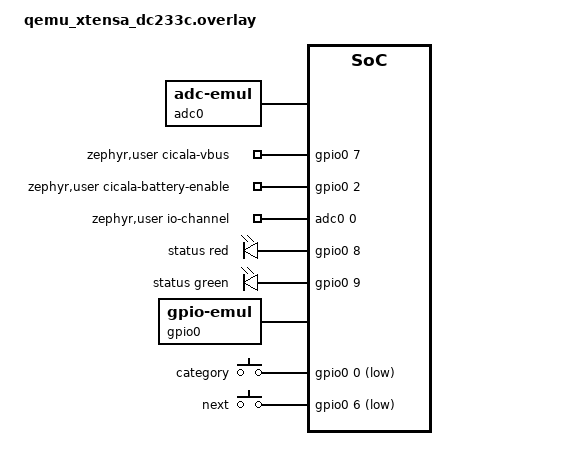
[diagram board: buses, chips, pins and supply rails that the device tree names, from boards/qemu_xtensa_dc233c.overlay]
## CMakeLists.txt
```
cmake_minimum_required(VERSION 3.20.0)

find_package(Zephyr REQUIRED HINTS $ENV{ZEPHYR_BASE})
project(cicala_integration LANGUAGES C CXX)

set(CICALA_APP ${CMAKE_CURRENT_SOURCE_DIR}/../../app)

add_subdirectory(${CMAKE_CURRENT_SOURCE_DIR}/../../lib/fsm cicala_fsm)
add_subdirectory(${CMAKE_CURRENT_SOURCE_DIR}/../../lib/app_fsm cicala_app_fsm)
add_subdirectory(${CMAKE_CURRENT_SOURCE_DIR}/../../lib/qdb cicala_qdb)
add_subdirectory(${CMAKE_CURRENT_SOURCE_DIR}/../../lib/layout cicala_layout)
add_subdirectory(${CMAKE_CURRENT_SOURCE_DIR}/../../lib/retained cicala_retained)
add_subdirectory(${CMAKE_CURRENT_SOURCE_DIR}/../../lib/power cicala_power)
add_subdirectory(${CMAKE_CURRENT_SOURCE_DIR}/../../lib/status cicala_status)

target_sources(app PRIVATE
    src/main.c
    ${CICALA_APP}/src/app.c
    ${CICALA_APP}/src/app_logic.cpp
    ${CICALA_APP}/src/channels.c
    ${CICALA_APP}/src/corpus.c
    ${CICALA_APP}/src/display.c
    ${CICALA_APP}/src/input.c
    ${CICALA_APP}/src/language.c
    ${CICALA_APP}/src/panel.cpp
    ${CICALA_APP}/src/power.c
    ${CICALA_APP}/src/power_logic.cpp
    ${CICALA_APP}/src/retained_block.cpp
    ${CICALA_APP}/src/status.c
    ${CICALA_APP}/src/status_logic.cpp
)

target_include_directories(app PRIVATE ${CICALA_APP}/include)
target_link_libraries(app PRIVATE cicala_fsm cicala_app_fsm cicala_qdb cicala_layout cicala_retained cicala_power
    cicala_status)

set(fixtures ${CMAKE_CURRENT_SOURCE_DIR}/../fixtures)

foreach(lang en de)
  if(NOT EXISTS ${fixtures}/${lang}.qdb)
    message(FATAL_ERROR "missing ${fixtures}/${lang}.qdb — run `just fw-test`")
  endif()

  generate_inc_file_for_target(app
    ${fixtures}/${lang}.qdb
    ${ZEPHYR_BINARY_DIR}/include/generated/${lang}_qdb.inc)
endforeach()
```

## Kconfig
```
# Use the complete application policy.

mainmenu "cicala integration tests"

rsource "../../Kconfig.policy"

source "Kconfig.zephyr"
```

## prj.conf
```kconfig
CONFIG_ZTEST=y

CONFIG_CPP=y
CONFIG_STD_CPP17=y
CONFIG_CPP_EXCEPTIONS=n
CONFIG_CPP_RTTI=n

CONFIG_LOG=y
CONFIG_LOG_MODE_IMMEDIATE=y
CONFIG_ASSERT=y

CONFIG_GPIO=y
CONFIG_INPUT=y
CONFIG_INPUT_MODE_SYNCHRONOUS=y

CONFIG_CICALA_POWER=y
CONFIG_CICALA_STATUS_LED=y
CONFIG_ADC=y
# Error-path logging runs on the emulator's acquisition thread.
CONFIG_ADC_EMUL_ACQUISITION_THREAD_STACK_SIZE=2048

CONFIG_CICALA_POWER_SAMPLE_MS=100
CONFIG_CICALA_POWER_CONFIRM_SAMPLES=1
CONFIG_CICALA_POWER_DIVIDER_SETTLE_MS=20

CONFIG_ZBUS=y
CONFIG_ZBUS_CHANNEL_NAME=y
CONFIG_ZBUS_MSG_SUBSCRIBER=y
CONFIG_ZBUS_MSG_SUBSCRIBER_BUF_ALLOC_STATIC=y
CONFIG_ZBUS_MSG_SUBSCRIBER_NET_BUF_STATIC_DATA_SIZE=144
CONFIG_ZBUS_RUNTIME_OBSERVERS=n

CONFIG_DISPLAY=y
CONFIG_CHARACTER_FRAMEBUFFER=y

CONFIG_ENTROPY_GENERATOR=y
CONFIG_TEST_RANDOM_GENERATOR=y

CONFIG_HEAP_MEM_POOL_SIZE=8192
CONFIG_MAIN_STACK_SIZE=4096
CONFIG_ZTEST_STACK_SIZE=4096
CONFIG_SYSTEM_WORKQUEUE_STACK_SIZE=1536
```

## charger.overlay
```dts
/ {
    zephyr,user {
        cicala-charger-status-gpios = <&gpio0 3 GPIO_ACTIVE_HIGH>,
                                     <&gpio0 4 GPIO_ACTIVE_HIGH>;
    };
};
```

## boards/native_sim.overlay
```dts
#include <zephyr/dt-bindings/adc/adc.h>
#include <zephyr/dt-bindings/gpio/gpio.h>
#include <zephyr/dt-bindings/input/input-event-codes.h>

/ {
    aliases {
        cicala-category = &cicala_category;
        cicala-next = &cicala_next;
        cicala-led-red = &led_red;
        cicala-led-green = &led_green;
    };

    adc0: adc {
        compatible = "zephyr,adc-emul";
        nchannels = <1>;
        ref-internal-mv = <3300>;
        #io-channel-cells = <1>;
        #address-cells = <1>;
        #size-cells = <0>;
        status = "okay";

        channel@0 {
            reg = <0>;
            zephyr,gain = "ADC_GAIN_1";
            zephyr,reference = "ADC_REF_INTERNAL";
            zephyr,acquisition-time = <ADC_ACQ_TIME_DEFAULT>;
            zephyr,resolution = <12>;
        };
    };

    zephyr,user {
        io-channels = <&adc0 0>;
        cicala-vbus-gpios = <&gpio0 7 GPIO_ACTIVE_HIGH>;
        cicala-battery-enable-gpios = <&gpio0 2 GPIO_ACTIVE_HIGH>;
    };

    cicala_leds: cicala-leds {
        compatible = "gpio-leds";
        led_red: red { gpios = <&gpio0 8 GPIO_ACTIVE_HIGH>; label = "status red"; };
        led_green: green { gpios = <&gpio0 9 GPIO_ACTIVE_HIGH>; label = "status green"; };
    };

    cicala_buttons: cicala-buttons {
        compatible = "gpio-keys";
        debounce-interval-ms = <30>;
        cicala_category: category { gpios = <&gpio0 0 GPIO_ACTIVE_LOW>; zephyr,code = <INPUT_KEY_MENU>; label = "category"; };
        cicala_next: next { gpios = <&gpio0 6 GPIO_ACTIVE_LOW>; zephyr,code = <INPUT_KEY_ENTER>; label = "next"; };
    };

    cicala_dummy: dummy_dc {
        compatible = "zephyr,dummy-dc";
        width = <250>;
        height = <122>;
        status = "okay";
    };

    chosen {
        zephyr,display = &cicala_dummy;
    };

};

&sdl_dc {
    status = "disabled";
};
```

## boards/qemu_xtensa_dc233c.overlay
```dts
#include <zephyr/dt-bindings/adc/adc.h>
#include <zephyr/dt-bindings/gpio/gpio.h>
#include <zephyr/dt-bindings/input/input-event-codes.h>

/ {
    aliases {
        cicala-category = &cicala_category;
        cicala-next = &cicala_next;
        cicala-led-red = &led_red;
        cicala-led-green = &led_green;
    };

    adc0: adc {
        compatible = "zephyr,adc-emul";
        nchannels = <1>;
        ref-internal-mv = <3300>;
        #io-channel-cells = <1>;
        #address-cells = <1>;
        #size-cells = <0>;
        status = "okay";

        channel@0 {
            reg = <0>;
            zephyr,gain = "ADC_GAIN_1";
            zephyr,reference = "ADC_REF_INTERNAL";
            zephyr,acquisition-time = <ADC_ACQ_TIME_DEFAULT>;
            zephyr,resolution = <12>;
        };
    };

    zephyr,user {
        io-channels = <&adc0 0>;
        cicala-vbus-gpios = <&gpio0 7 GPIO_ACTIVE_HIGH>;
        cicala-battery-enable-gpios = <&gpio0 2 GPIO_ACTIVE_HIGH>;
    };

    cicala_leds: cicala-leds {
        compatible = "gpio-leds";
        led_red: red { gpios = <&gpio0 8 GPIO_ACTIVE_HIGH>; label = "status red"; };
        led_green: green { gpios = <&gpio0 9 GPIO_ACTIVE_HIGH>; label = "status green"; };
    };

    gpio0: gpio_emul {
        compatible = "zephyr,gpio-emul";
        gpio-controller;
        #gpio-cells = <2>;
        ngpios = <32>;
        rising-edge;
        falling-edge;
        high-level;
        low-level;
    };

    cicala_buttons: cicala-buttons {
        compatible = "gpio-keys";
        debounce-interval-ms = <30>;
        cicala_category: category { gpios = <&gpio0 0 GPIO_ACTIVE_LOW>; zephyr,code = <INPUT_KEY_MENU>; label = "category"; };
        cicala_next: next { gpios = <&gpio0 6 GPIO_ACTIVE_LOW>; zephyr,code = <INPUT_KEY_ENTER>; label = "next"; };
    };

    cicala_dummy: dummy_dc {
        compatible = "zephyr,dummy-dc";
        width = <250>;
        height = <122>;
        status = "okay";
    };

    chosen {
        zephyr,display = &cicala_dummy;
    };
};
```

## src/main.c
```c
/* Exercise the real input-to-panel seams with emulated GPIO, ADC, and display. */

#include <zephyr/drivers/adc.h>
#include <zephyr/drivers/adc/adc_emul.h>
#include <zephyr/drivers/gpio.h>
#include <zephyr/drivers/gpio/gpio_emul.h>
#include <zephyr/init.h>
#include <zephyr/kernel.h>
#include <zephyr/sys/atomic.h>
#include <zephyr/ztest.h>

#include "channels.h"
#include "input.h"
#include "power.h"
#include "power_logic.h"
#include "status.h"

static const struct gpio_dt_spec category = GPIO_DT_SPEC_GET(DT_ALIAS(cicala_category), gpios);
static const struct gpio_dt_spec next_button = GPIO_DT_SPEC_GET(DT_ALIAS(cicala_next), gpios);

static const struct gpio_dt_spec led_red = GPIO_DT_SPEC_GET(DT_ALIAS(cicala_led_red), gpios);
static const struct gpio_dt_spec led_green = GPIO_DT_SPEC_GET(DT_ALIAS(cicala_led_green), gpios);

static const struct adc_dt_spec cell = ADC_DT_SPEC_GET(DT_PATH(zephyr_user));

static const struct gpio_dt_spec vbus = GPIO_DT_SPEC_GET(DT_PATH(zephyr_user), cicala_vbus_gpios);
static const struct gpio_dt_spec divider =
    GPIO_DT_SPEC_GET(DT_PATH(zephyr_user), cicala_battery_enable_gpios);

#define HAS_CHARGER DT_NODE_HAS_PROP(DT_PATH(zephyr_user), cicala_charger_status_gpios)
#if HAS_CHARGER
static const struct gpio_dt_spec stat1 =
    GPIO_DT_SPEC_GET_BY_IDX(DT_PATH(zephyr_user), cicala_charger_status_gpios, 0);
static const struct gpio_dt_spec stat2 =
    GPIO_DT_SPEC_GET_BY_IDX(DT_PATH(zephyr_user), cicala_charger_status_gpios, 1);

static void set_charger(bool high1, bool high2)
{
    zassert_ok(gpio_emul_input_set(stat1.port, stat1.pin, high1));
    zassert_ok(gpio_emul_input_set(stat2.port, stat2.pin, high2));
    k_msleep(CONFIG_CICALA_POWER_SAMPLE_MS * 3);
}
#endif

#define HEALTHY_MV 3900
/* Clear of the critical and plausible thresholds after ADC rounding. */
#define FLAT_MV 2800

/* The emulator supplies divider-tap voltage; power.c scales it to pack voltage. */
#define TAP_MV(pack) ((pack) * CONFIG_CICALA_POWER_DIVIDER_DEN / CONFIG_CICALA_POWER_DIVIDER_NUM)

static atomic_t tap_mv = ATOMIC_INIT(TAP_MV(HEALTHY_MV));
static atomic_t adc_reads;
static atomic_t adc_gate_errors;
static atomic_t adc_fail;

static int sample_gated_cell(const struct device *dev, unsigned int chan, void *data,
                             uint32_t *result)
{
    ARG_UNUSED(dev);
    ARG_UNUSED(chan);
    ARG_UNUSED(data);
    if (gpio_emul_output_get(divider.port, divider.pin) != 1) {
        atomic_inc(&adc_gate_errors);
    }
    atomic_inc(&adc_reads);
    *result = atomic_get(&tap_mv);
    return atomic_get(&adc_fail) ? -EIO : 0;
}

static int charge_the_cell(void)
{
    (void) adc_emul_value_func_set(cell.dev, cell.channel_id, sample_gated_cell, NULL);

    return 0;
}

/* Run before power.c samples the ADC at application priority. */
SYS_INIT(charge_the_cell, APPLICATION, 0);

static void set_cell_mv(uint16_t pack_mv)
{
    atomic_set(&tap_mv, TAP_MV(pack_mv));
    k_sleep(K_MSEC(CONFIG_CICALA_POWER_SAMPLE_MS * 3));
}

static void set_vbus(bool plugged)
{
    zassert_ok(gpio_emul_input_set(vbus.port, vbus.pin, plugged ? 1 : 0));
    k_sleep(K_MSEC(CONFIG_CICALA_POWER_SAMPLE_MS * 3));
}

static void settle_leds(void)
{
    /* Cases are unordered, so outlast any burst armed by a previous case. */
    k_sleep(K_MSEC(CONFIG_CICALA_STATUS_LED_BLINK_MS * 8));
}

/* Includes gpio-keys debounce and both application threads. */
#define PRESS_WAIT K_MSEC(CONFIG_CICALA_BUTTON_DEBOUNCE_MS + 300)

static struct cicala_question_msg last_question;

static struct cicala_question_msg first_question;
static bool have_first;

static int questions;
static int renders;
static int last_render_result;

static struct cicala_power_msg last_power;

static void observe(const struct zbus_channel *chan)
{
    if (chan == &chan_power) {
        last_power = *(const struct cicala_power_msg *) zbus_chan_const_msg(chan);
    } else if (chan == &chan_question) {
        last_question = *(const struct cicala_question_msg *) zbus_chan_const_msg(chan);
        questions++;

        if (!have_first) {
            first_question = last_question;
            have_first = true;
        }
    } else if (chan == &chan_render) {
        const struct cicala_render_msg *msg = zbus_chan_const_msg(chan);

        last_render_result = msg->result;
        renders++;
    }
}

ZBUS_LISTENER_DEFINE(test_obs, observe);
ZBUS_CHAN_ADD_OBS(chan_question, test_obs, 4);
ZBUS_CHAN_ADD_OBS(chan_render, test_obs, 4);
ZBUS_CHAN_ADD_OBS(chan_power, test_obs, 4);

static void press(const struct gpio_dt_spec *button)
{
    zassert_ok(gpio_emul_input_set(button->port, button->pin, 0));
    k_sleep(K_MSEC(80));
    zassert_ok(gpio_emul_input_set(button->port, button->pin, 1));
    k_sleep(PRESS_WAIT);
}

static void *suite_setup(void)
{
    /* Emulated active-low buttons start low. */
    zassert_ok(gpio_emul_input_set(category.port, category.pin, 1));
    zassert_ok(gpio_emul_input_set(next_button.port, next_button.pin, 1));

    zassert_ok(gpio_emul_input_set(vbus.port, vbus.pin, 0));
#if HAS_CHARGER
    set_charger(true, false);
#endif

    k_sleep(PRESS_WAIT);

    zassert_ok(cicala_input_init());
    k_sleep(PRESS_WAIT);

    return NULL;
}

static void suite_teardown(void *data)
{
    ARG_UNUSED(data);
    for (int i = 0; i < 200 && gpio_emul_output_get(divider.port, divider.pin) == 0; i++) {
        k_msleep(1);
    }
    cicala_power_prepare_sleep();
    cicala_status_off();
    atomic_val_t completed = atomic_get(&adc_reads);
    cicala_status_set_activity(true);
    cicala_status_set_portal(true);
    k_msleep(CONFIG_CICALA_POWER_SAMPLE_MS * 3);
    zassert_equal(atomic_get(&adc_reads), completed, "ADC rearmed after sleep preparation");
    zassert_equal(gpio_emul_output_get(divider.port, divider.pin), 0);
    zassert_equal(gpio_emul_output_get(led_red.port, led_red.pin), 0);
    zassert_equal(gpio_emul_output_get(led_green.port, led_green.pin), 0);
}

ZTEST_SUITE(cicala_integration, NULL, suite_setup, NULL, NULL, suite_teardown);

ZTEST(cicala_integration, test_adc_switch_closes_after_success_and_failure)
{
    set_cell_mv(HEALTHY_MV);
    for (int fail = 0; fail < 2; fail++) {
        atomic_set(&adc_fail, fail);
        atomic_val_t before = atomic_get(&adc_reads);
        for (int i = 0; i < 100 && atomic_get(&adc_reads) == before; i++) {
            k_msleep(10);
        }
        zassert_true(atomic_get(&adc_reads) > before, "ADC worker did not run");
        k_msleep(10);
        zassert_equal(gpio_emul_output_get(divider.port, divider.pin), 0,
                      "Divider must switch off even when conversion fails");
    }
    atomic_clear(&adc_fail);
    zassert_equal(atomic_get(&adc_gate_errors), 0, "ADC sampled an unpowered divider");
    set_cell_mv(HEALTHY_MV);
}

ZTEST(cicala_integration, test_boot_starts_the_mixed_stream)
{
    zassert_true(have_first);
    zassert_equal(first_question.kind, CICALA_CARD_QUESTION);
    zassert_equal(first_question.permissions, 0);
}

ZTEST(cicala_integration, test_filters_edit_a_draft_and_done_resumes_the_question)
{
    press(&next_button);
    struct cicala_question_msg before = last_question;
    press(&category);
    zassert_equal(last_question.kind, CICALA_CARD_FILTERS);
    zassert_equal(last_question.cursor, 0);
    press(&next_button);
    zassert_equal(last_question.permissions, before.permissions ^ 1);
    press(&next_button); // restore the draft
    for (int i = 1; i <= 3; i++) {
        press(&category);
        zassert_equal(last_question.cursor, i);
    }
    press(&next_button);
    zassert_equal(last_question.kind, CICALA_CARD_QUESTION);
    zassert_equal(last_question.len, before.len);
    zassert_mem_equal(last_question.text, before.text, before.len);
    zassert_equal(last_render_result, 0);
}

ZTEST(cicala_integration, test_next_draws_a_different_question)
{
    press(&next_button);
    zassert_equal(last_question.kind, CICALA_CARD_QUESTION);

    const uint32_t before_seq = last_question.seq;
    const uint16_t before_len = last_question.len;
    char before_text[CONFIG_CICALA_MAX_QUESTION_BYTES];

    memcpy(before_text, last_question.text, before_len);

    questions = 0;

    press(&next_button);

    zassert_equal(questions, 1, "one press is one question");
    zassert_true(last_question.seq > before_seq, "the sequence has to advance");

    const bool same =
        last_question.len == before_len && memcmp(last_question.text, before_text, before_len) == 0;

    zassert_false(same, "the bag must not hand back the question already on screen");
}

ZTEST(cicala_integration, test_a_flat_cell_leaves_the_question_on_the_panel)
{
    press(&next_button);

    const uint32_t drawn = last_question.seq;

    set_cell_mv(FLAT_MV);

    questions = 0;
    renders = 0;

    press(&next_button);

    zassert_equal(questions, 0, "nothing should have been published");
    zassert_equal(renders, 0, "and nothing should have reached the panel");
    zassert_equal(last_question.seq, drawn, "the glass still holds the last question");

    set_cell_mv(HEALTHY_MV);
}

ZTEST(cicala_integration, test_a_charged_cell_answers_again)
{
    set_cell_mv(FLAT_MV);

    questions = 0;
    press(&next_button);
    zassert_equal(questions, 0);

    set_cell_mv(HEALTHY_MV);

    press(&next_button);

    zassert_equal(questions, 1, "the press after a recovery is answered");
    zassert_equal(last_question.kind, CICALA_CARD_QUESTION);
    zassert_equal(last_render_result, 0);
}

ZTEST(cicala_integration, test_a_flat_cell_does_not_burn_a_question_from_the_bag)
{
    set_cell_mv(FLAT_MV);

    for (int i = 0; i < 5; i++) {
        press(&next_button);
    }

    set_cell_mv(HEALTHY_MV);

    questions = 0;
    press(&next_button);

    zassert_equal(questions, 1, "the bag still had something to give");
    zassert_equal(last_question.kind, CICALA_CARD_QUESTION);
}

ZTEST(cicala_integration, test_the_usb_bit_follows_the_pin)
{
    set_cell_mv(HEALTHY_MV);
    set_vbus(false);

    zassert_false(last_power.usb, "nothing is plugged in yet");

    set_vbus(true);

    zassert_true(last_power.usb, "plugging in has to reach the channel");
    zassert_equal(last_power.state, CICALA_POWER_CHARGING);

    set_vbus(false);

    zassert_false(last_power.usb, "and so does unplugging");
    zassert_equal(last_power.state, CICALA_POWER_NORMAL,
                  "unplugging re-derives from the cell rather than trusting where it was");
}

ZTEST(cicala_integration, test_external_power_answers_a_press_the_cell_would_not)
{
    set_cell_mv(FLAT_MV);

    questions = 0;
    press(&next_button);
    zassert_equal(questions, 0, "on the cell alone this press is refused");

    set_vbus(true);

    questions = 0;
    press(&next_button);

    zassert_equal(questions, 1, "external power pays for the refresh");
    zassert_equal(last_question.kind, CICALA_CARD_QUESTION);
    zassert_equal(last_render_result, 0);

    set_cell_mv(HEALTHY_MV);
    set_vbus(false);
}

ZTEST(cicala_integration, test_charge_indicator_follows_available_evidence)
{
    set_cell_mv(HEALTHY_MV);
    set_vbus(true);
    settle_leds();

    zassert_true(gpio_emul_output_get(led_red.port, led_red.pin) > 0, "charging is steady red");
    zassert_equal(gpio_emul_output_get(led_green.port, led_green.pin), 0);

    set_cell_mv(CONFIG_CICALA_POWER_FULL_MV + 50);

#if HAS_CHARGER
    zassert_equal(last_power.state, CICALA_POWER_CHARGING,
                  "high voltage must not override charging-in-progress status");
    zassert_true(gpio_emul_output_get(led_red.port, led_red.pin) > 0);
    zassert_equal(gpio_emul_output_get(led_green.port, led_green.pin), 0);
#else
    zassert_true(gpio_emul_output_get(led_green.port, led_green.pin) > 0, "and full is green");
    zassert_equal(gpio_emul_output_get(led_red.port, led_red.pin), 0);
#endif

    set_vbus(false);
    set_cell_mv(HEALTHY_MV);

    zassert_equal(gpio_emul_output_get(led_red.port, led_red.pin), 0,
                  "unplugged and healthy shows nothing at all");
    zassert_equal(gpio_emul_output_get(led_green.port, led_green.pin), 0);
}

#if HAS_CHARGER
ZTEST(cicala_integration, test_charger_status_pins_reach_state_and_leds)
{
    set_cell_mv(HEALTHY_MV);
    set_vbus(true);
    settle_leds();
    set_charger(true, true);
    zassert_equal(last_power.state, CICALA_POWER_EXTERNAL_IDLE);
    zassert_equal(last_power.charger, CICALA_CHARGER_IDLE);

    set_charger(false, true);
    zassert_equal(last_power.state, CICALA_POWER_CHARGE_FAULT);
    zassert_equal(last_power.charger, CICALA_CHARGER_RECOVERABLE_FAULT);
    zassert_true(cicala_power_external());
    zassert_true(cicala_power_refresh_allowed());

    set_charger(false, false);
    zassert_equal(last_power.state, CICALA_POWER_CHARGE_FAULT);
    zassert_equal(last_power.charger, CICALA_CHARGER_LATCHED_FAULT,
                  "fault detail must publish even at unchanged cell voltage");
    bool lit = false;
    bool dark = false;
    for (int i = 0; i < 200 && !(lit && dark); i++) {
        int red = gpio_emul_output_get(led_red.port, led_red.pin);
        lit |= red > 0;
        dark |= red == 0;
        zassert_equal(gpio_emul_output_get(led_green.port, led_green.pin), 0);
        k_msleep(10);
    }
    zassert_true(lit && dark, "charger faults pulse red");

    set_charger(true, false);
    zassert_equal(last_power.state, CICALA_POWER_CHARGING);
    zassert_true(gpio_emul_output_get(led_red.port, led_red.pin) > 0);
    set_vbus(false);
}
#endif

ZTEST(cicala_integration, test_the_portal_shows_amber)
{
    set_cell_mv(HEALTHY_MV);
    settle_leds();

    cicala_status_set_portal(true);
    k_sleep(K_MSEC(CONFIG_CICALA_STATUS_LED_BLINK_MS));

    zassert_true(gpio_emul_output_get(led_red.port, led_red.pin) > 0, "amber is both lit");
    zassert_true(gpio_emul_output_get(led_green.port, led_green.pin) > 0, "amber is both lit");

    cicala_status_set_portal(false);
    k_sleep(K_MSEC(CONFIG_CICALA_STATUS_LED_BLINK_MS));

    zassert_equal(gpio_emul_output_get(led_red.port, led_red.pin), 0,
                  "and it goes away when the portal does");
    zassert_equal(gpio_emul_output_get(led_green.port, led_green.pin), 0);
}

ZTEST(cicala_integration, test_a_refused_press_is_answered_on_the_red_led)
{
    set_cell_mv(HEALTHY_MV);
    settle_leds();

    zassert_equal(gpio_emul_output_get(led_red.port, led_red.pin), 0,
                  "a healthy cell shows nothing at all");
    zassert_equal(gpio_emul_output_get(led_green.port, led_green.pin), 0);

    set_cell_mv(FLAT_MV);

    press(&next_button);

    bool seen_lit = false;
    bool seen_dark = false;

    /* press() has already consumed part of the blink burst. */
    for (int i = 0; i < 60 && !(seen_lit && seen_dark); i++) {
        if (gpio_emul_output_get(led_red.port, led_red.pin) > 0) {
            seen_lit = true;
        } else {
            seen_dark = true;
        }

        k_sleep(K_MSEC(CONFIG_CICALA_STATUS_LED_BLINK_MS / 4));
    }

    zassert_true(seen_lit, "a refused press should say so");
    zassert_true(seen_dark, "and it should blink rather than latch on");

    zassert_equal(gpio_emul_output_get(led_green.port, led_green.pin), 0,
                  "green means charged, and this cell is the opposite");

    set_cell_mv(HEALTHY_MV);
    k_sleep(K_MSEC(CONFIG_CICALA_STATUS_LED_BLINK_MS * 8));

    zassert_equal(gpio_emul_output_get(led_red.port, led_red.pin), 0,
                  "and the burst ends rather than running forever");
}
```
